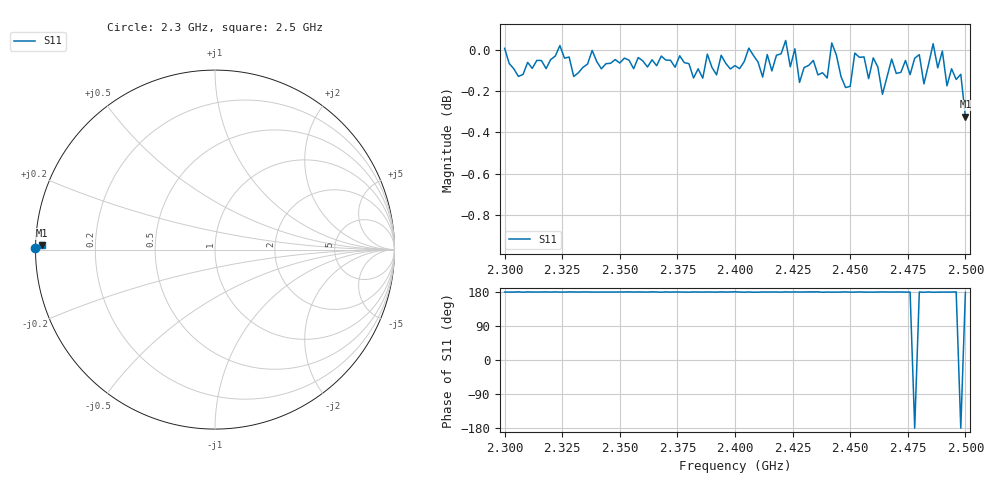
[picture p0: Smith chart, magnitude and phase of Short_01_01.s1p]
# HZ S RI R 50
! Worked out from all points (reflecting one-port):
!   101 points, 2.3 GHz to 2.5 GHz, reference 50 ohm
!   lowest |S11| = -0.3 dB at 2.5 GHz (marker M1), VSWR 53.67, Z = 0.932 + j0.606 ohm
!   phase of S11 starts at 179 deg and turns -1 deg over the sweep
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2.3e9  -1.001 0.0107
2.306e9  -0.9854 0.00133
2.308e9  -0.9863 0.0187
2.31e9  -0.9932 0.00341
2.326e9  -0.9955 0.0129
2.35e9  -0.9928 0.00795
2.376e9  -0.9968 0.0106
2.4e9  -0.9914 0.00116
2.404e9  -0.9935 0.0193
2.426e9  -1.001 0.00548
2.428e9  -0.9821 0.0109
2.44e9  -0.9845 0.0121
2.442e9  -1.004 0.0157
2.448e9  -0.9793 0.00433
2.45e9  -0.9798 0.0163
2.452e9  -0.9983 0.0137
2.458e9  -0.984 0.0154
2.46e9  -0.9956 0.0161
2.464e9  -0.9756 0.00612
2.468e9  -0.995 0.0129
2.476e9  -0.9863 0.0123
2.478e9  -0.9955 -0.0012
2.482e9  -0.981 0.0235
2.484e9  -0.992 0.0067
2.486e9  -1.003 0.0232
2.492e9  -0.9801 0.0139
2.498e9  -0.9866 -0.000843
2.5e9  -0.9631 0.0234
